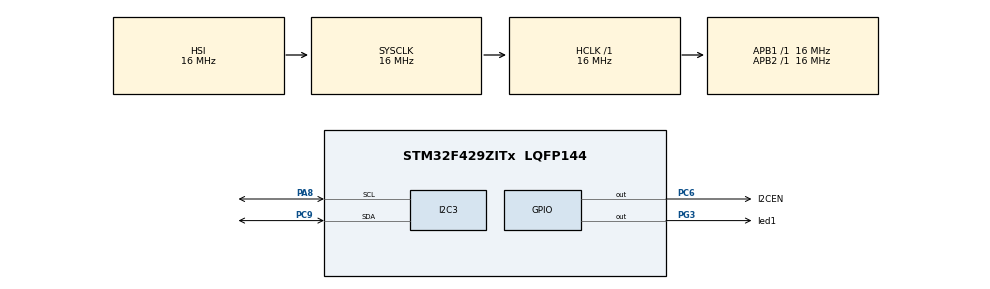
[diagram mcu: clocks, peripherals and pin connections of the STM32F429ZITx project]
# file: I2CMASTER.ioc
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Dma.I2C3_TX.0.Direction=DMA_MEMORY_TO_PERIPH
Dma.I2C3_TX.0.FIFOMode=DMA_FIFOMODE_DISABLE
Dma.I2C3_TX.0.Instance=DMA1_Stream4
Dma.I2C3_TX.0.MemDataAlignment=DMA_MDATAALIGN_BYTE
Dma.I2C3_TX.0.MemInc=DMA_MINC_ENABLE
Dma.I2C3_TX.0.Mode=DMA_NORMAL
Dma.I2C3_TX.0.PeriphDataAlignment=DMA_PDATAALIGN_BYTE
Dma.I2C3_TX.0.PeriphInc=DMA_PINC_DISABLE
Dma.I2C3_TX.0.Priority=DMA_PRIORITY_LOW
Dma.Request0=I2C3_TX
Mcu.Family=STM32F4
Mcu.Name=STM32F429ZITx
Mcu.Package=LQFP144
NVIC.DMA1_Stream4_IRQn=true\:0\:0\:false\:false\:true\:false\:true\:true
NVIC.I2C3_ER_IRQn=true\:0\:0\:false\:false\:true\:true\:true\:true
NVIC.I2C3_EV_IRQn=true\:0\:0\:false\:false\:true\:true\:true\:true
NVIC.PriorityGroup=NVIC_PRIORITYGROUP_4
PA8.GPIO_Pu=GPIO_PULLUP
PA8.Mode=I2C
PA8.Signal=I2C3_SCL
PC6.GPIO_Label=I2CEN
PC6.Signal=GPIO_Output
PC9.GPIO_Pu=GPIO_PULLUP
PC9.Mode=I2C
PC9.Signal=I2C3_SDA
PG3.GPIO_Label=led1
PG3.Signal=GPIO_Output
ProjectManager.HeapSize=0x200
ProjectManager.StackSize=0x400
ProjectManager.TargetToolchain=STM32CubeIDE
RCC.AHBFreq_Value=16000000
RCC.APB1Freq_Value=16000000
RCC.APB2Freq_Value=16000000
RCC.CortexFreq_Value=16000000
RCC.HSE_VALUE=25000000
RCC.HSI_VALUE=16000000
RCC.LSE_VALUE=32768
RCC.SYSCLKFreq_VALUE=16000000
RCC.VCOOutputFreq_Value=192000000
board=custom

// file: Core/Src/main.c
/* USER CODE BEGIN Header */
/**
  ******************************************************************************
  * @file           : main.c
  * @brief          : Main program body
  ******************************************************************************
  * @attention
  *
  * Copyright (c) 2026 STMicroelectronics.
  * All rights reserved.
  *
  * This software is licensed under terms that can be found in the LICENSE file
  * in the root directory of this software component.
  * If no LICENSE file comes with this software, it is provided AS-IS.
  *
  ******************************************************************************
  */
/* USER CODE END Header */
#include "main.h"

I2C_HandleTypeDef hi2c3;
DMA_HandleTypeDef hdma_i2c3_tx;

/* USER CODE BEGIN PV */
uint8_t TX_Buffer [] = "A" ;
/* USER CODE END PV */

void SystemClock_Config(void);
static void MX_GPIO_Init(void);
static void MX_DMA_Init(void);
static void MX_I2C3_Init(void);

int main(void)
{

  /* USER CODE BEGIN 1 */
	HAL_GPIO_WritePin(I2CEN_GPIO_Port, I2CEN_Pin, 1);
  /* USER CODE END 1 */

  /* MCU Configuration--------------------------------------------------------*/

  /* Reset of all peripherals, Initializes the Flash interface and the Systick. */
  HAL_Init();

  /* Configure the system clock */
  SystemClock_Config();

  /* Initialize all configured peripherals */
  MX_GPIO_Init();
  MX_DMA_Init();
  MX_I2C3_Init();

  /* Infinite loop */
  while (1)
  {

    /* USER CODE BEGIN 3 */
	  TX_Buffer[0] += 1;
	  if(HAL_I2C_Master_Transmit(&hi2c3, (20 << 1), TX_Buffer, 1, 1000) == HAL_OK){
	            HAL_GPIO_WritePin(led1_GPIO_Port, led1_Pin, 0);
	            HAL_Delay(100);
	            HAL_GPIO_WritePin(led1_GPIO_Port, led1_Pin, 1);
	        }
	        else{
	            HAL_GPIO_WritePin(led1_GPIO_Port, led1_Pin, 0);
	            HAL_Delay(25);
	            HAL_GPIO_WritePin(led1_GPIO_Port, led1_Pin, 1);
	            HAL_Delay(25);
	            HAL_GPIO_WritePin(led1_GPIO_Port, led1_Pin, 0);
	            HAL_Delay(25);
	            HAL_GPIO_WritePin(led1_GPIO_Port, led1_Pin, 1);
	            HAL_Delay(25);
	            HAL_GPIO_WritePin(led1_GPIO_Port, led1_Pin, 0);
	            HAL_Delay(25);
	            HAL_GPIO_WritePin(led1_GPIO_Port, led1_Pin, 1);
	        }
	  HAL_Delay(100);
  }
  /* USER CODE END 3 */
}

void SystemClock_Config(void)
{
  RCC_OscInitTypeDef RCC_OscInitStruct = {0};
  RCC_ClkInitTypeDef RCC_ClkInitStruct = {0};

  /** Configure the main internal regulator output voltage
  */
  __HAL_RCC_PWR_CLK_ENABLE();
  __HAL_PWR_VOLTAGESCALING_CONFIG(PWR_REGULATOR_VOLTAGE_SCALE3);

  /** Initializes the RCC Oscillators according to the specified parameters
  * in the RCC_OscInitTypeDef structure.
  */
  RCC_OscInitStruct.OscillatorType = RCC_OSCILLATORTYPE_HSI;
  RCC_OscInitStruct.HSIState = RCC_HSI_ON;
  RCC_OscInitStruct.HSICalibrationValue = RCC_HSICALIBRATION_DEFAULT;
  RCC_OscInitStruct.PLL.PLLState = RCC_PLL_NONE;
  if (HAL_RCC_OscConfig(&RCC_OscInitStruct) != HAL_OK)
  {
    Error_Handler();
  }

  /** Initializes the CPU, AHB and APB buses clocks
  */
  RCC_ClkInitStruct.ClockType = RCC_CLOCKTYPE_HCLK|RCC_CLOCKTYPE_SYSCLK
                              |RCC_CLOCKTYPE_PCLK1|RCC_CLOCKTYPE_PCLK2;
  RCC_ClkInitStruct.SYSCLKSource = RCC_SYSCLKSOURCE_HSI;
  RCC_ClkInitStruct.AHBCLKDivider = RCC_SYSCLK_DIV1;
  RCC_ClkInitStruct.APB1CLKDivider = RCC_HCLK_DIV1;
  RCC_ClkInitStruct.APB2CLKDivider = RCC_HCLK_DIV1;

  if (HAL_RCC_ClockConfig(&RCC_ClkInitStruct, FLASH_LATENCY_0) != HAL_OK)
  {
    Error_Handler();
  }
}

static void MX_I2C3_Init(void)
{

  hi2c3.Instance = I2C3;
  hi2c3.Init.ClockSpeed = 100000;
  hi2c3.Init.DutyCycle = I2C_DUTYCYCLE_2;
  hi2c3.Init.OwnAddress1 = 0;
  hi2c3.Init.AddressingMode = I2C_ADDRESSINGMODE_7BIT;
  hi2c3.Init.DualAddressMode = I2C_DUALADDRESS_DISABLE;
  hi2c3.Init.OwnAddress2 = 0;
  hi2c3.Init.GeneralCallMode = I2C_GENERALCALL_DISABLE;
  hi2c3.Init.NoStretchMode = I2C_NOSTRETCH_DISABLE;
  if (HAL_I2C_Init(&hi2c3) != HAL_OK)
  {
    Error_Handler();
  }

  /** Configure Analogue filter
  */
  if (HAL_I2CEx_ConfigAnalogFilter(&hi2c3, I2C_ANALOGFILTER_ENABLE) != HAL_OK)
  {
    Error_Handler();
  }

  /** Configure Digital filter
  */
  if (HAL_I2CEx_ConfigDigitalFilter(&hi2c3, 0) != HAL_OK)
  {
    Error_Handler();
  }

}

static void MX_DMA_Init(void)
{

  /* DMA controller clock enable */
  __HAL_RCC_DMA1_CLK_ENABLE();

  /* DMA interrupt init */
  /* DMA1_Stream4_IRQn interrupt configuration */
  HAL_NVIC_SetPriority(DMA1_Stream4_IRQn, 0, 0);
  HAL_NVIC_EnableIRQ(DMA1_Stream4_IRQn);

}

static void MX_GPIO_Init(void)
{
  GPIO_InitTypeDef GPIO_InitStruct = {0};

  /* GPIO Ports Clock Enable */
  __HAL_RCC_GPIOG_CLK_ENABLE();
  __HAL_RCC_GPIOC_CLK_ENABLE();
  __HAL_RCC_GPIOA_CLK_ENABLE();

  /*Configure GPIO pin Output Level */
  HAL_GPIO_WritePin(led1_GPIO_Port, led1_Pin, GPIO_PIN_RESET);

  /*Configure GPIO pin Output Level */
  HAL_GPIO_WritePin(I2CEN_GPIO_Port, I2CEN_Pin, GPIO_PIN_RESET);

  /*Configure GPIO pin : led1_Pin */
  GPIO_InitStruct.Pin = led1_Pin;
  GPIO_InitStruct.Mode = GPIO_MODE_OUTPUT_PP;
  GPIO_InitStruct.Pull = GPIO_NOPULL;
  GPIO_InitStruct.Speed = GPIO_SPEED_FREQ_LOW;
  HAL_GPIO_Init(led1_GPIO_Port, &GPIO_InitStruct);

  /*Configure GPIO pin : I2CEN_Pin */
  GPIO_InitStruct.Pin = I2CEN_Pin;
  GPIO_InitStruct.Mode = GPIO_MODE_OUTPUT_PP;
  GPIO_InitStruct.Pull = GPIO_NOPULL;
  GPIO_InitStruct.Speed = GPIO_SPEED_FREQ_LOW;
  HAL_GPIO_Init(I2CEN_GPIO_Port, &GPIO_InitStruct);

}

void Error_Handler(void)
{
  __disable_irq();
  while (1)
  {
  }
}
